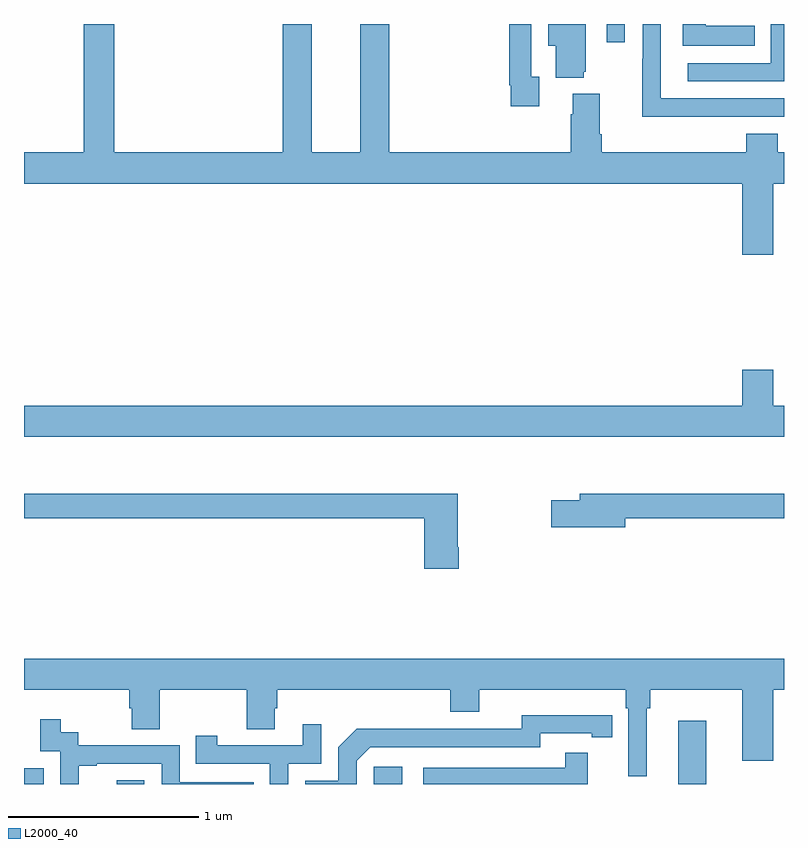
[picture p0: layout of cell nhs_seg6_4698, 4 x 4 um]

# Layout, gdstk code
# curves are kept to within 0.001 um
import gdstk
lib = gdstk.Library(unit=1e-6, precision=1e-09)
def R(c, l, rs):  # rectangles x0, y0, x1, y1
    for r in rs: c.add(gdstk.rectangle(r[:2], r[2:], *l))
def P(c, l, *ps):  # polygons
    for p in ps: c.add(gdstk.Polygon(p, *l))
L2000_40 = (2000, 40)

nhs_seg6_4698 = lib.new_cell('nhs_seg6_4698')
R(nhs_seg6_4698, L2000_40, [(389,953.5,389.105,953.583), (389.487,953.5,389.634,953.521), (390.84,953.5,390.991,953.59), (392.444,953.5,392.59,953.833), (392.067,957.405,392.163,957.5)])
P(nhs_seg6_4698, L2000_40, [(392.944,956.66),(393,956.66),(393,956.824),(392.966,956.824),(392.966,956.923),(392.801,956.923),(392.801,956.824),(392.042,956.824),(392.042,956.92),(392.029,956.92),(392.029,957.133),(391.889,957.133),(391.889,957.026),(391.877,957.026),(391.877,956.824),(390.923,956.824),(390.923,957.5),(390.77,957.5),(390.77,956.824),(390.514,956.824),(390.514,957.5),(390.362,957.5),(390.362,956.824),(389.474,956.824),(389.474,957.5),(389.314,957.5),(389.314,956.824),(389,956.824),(389,956.66),(392.78,956.66),(392.78,956.286),(392.944,956.286)],
  [(391.711,957.222),(391.671,957.222),(391.671,957.5),(391.555,957.5),(391.555,957.178),(391.563,957.178),(391.563,957.066),(391.711,957.066)],
  [(392.846,957.49),(392.589,957.49),(392.589,957.5),(392.468,957.5),(392.468,957.386),(392.846,957.386)],
  [(393,957.5),(392.931,957.5),(392.931,957.294),(392.493,957.294),(392.493,957.198),(393,957.198)],
  [(392.717,957.012),(393,957.012),(393,957.108),(392.352,957.108),(392.352,957.5),(392.256,957.5),(392.256,957.317),(392.254,957.317),(392.254,957.011),(392.717,957.011)],
  [(391.946,957.249),(391.957,957.249),(391.957,957.5),(391.76,957.5),(391.76,957.386),(391.799,957.386),(391.799,957.218),(391.946,957.218)],
  [(393,955.492),(392.944,955.492),(392.944,955.681),(392.78,955.681),(392.78,955.492),(389,955.492),(389,955.328),(393,955.328)],
  [(391.289,954.745),(391.284,954.745),(391.284,955.027),(389,955.027),(389,954.898),(391.106,954.898),(391.106,954.633),(391.289,954.633)],
  [(392.164,954.898),(393,954.898),(393,955.027),(391.925,955.027),(391.925,954.993),(391.776,954.993),(391.776,954.851),(392.164,954.851)],
  [(392.278,953.9),(392.297,953.9),(392.297,953.996),(392.78,953.996),(392.78,953.622),(392.944,953.622),(392.944,953.996),(393,953.996),(393,954.16),(389,954.16),(389,953.996),(389.555,953.996),(389.555,953.898),(389.567,953.898),(389.567,953.788),(389.715,953.788),(389.715,953.996),(390.172,953.996),(390.172,953.788),(390.319,953.788),(390.319,953.898),(390.332,953.898),(390.332,953.996),(391.244,953.996),(391.244,953.879),(391.396,953.879),(391.396,953.996),(392.168,953.996),(392.168,953.9),(392.181,953.9),(392.181,953.541),(392.278,953.541)],
  [(390.75,953.622),(390.822,953.694),(391.716,953.694),(391.716,953.766),(391.988,953.766),(391.988,953.746),(392.096,953.746),(392.096,953.862),(391.62,953.863),(391.62,953.79),(391.16,953.79),(391.16,953.792),(390.752,953.792),(390.654,953.694),(390.654,953.517),(390.48,953.517),(390.48,953.5),(390.75,953.5)],
  [(389.288,953.595),(389.383,953.595),(389.383,953.607),(389.724,953.607),(389.724,953.5),(390.209,953.5),(390.209,953.508),(389.82,953.508),(389.82,953.703),(389.286,953.703),(389.286,953.772),(389.194,953.772),(389.194,953.842),(389.085,953.842),(389.085,953.673),(389.19,953.673),(389.19,953.5),(389.288,953.5)],
  [(390.39,953.607),(390.564,953.607),(390.564,953.815),(390.467,953.815),(390.467,953.703),(390.016,953.703),(390.016,953.755),(389.905,953.755),(389.905,953.607),(390.294,953.607),(390.294,953.5),(390.39,953.5)],
  [(391.967,953.665),(391.849,953.665),(391.849,953.586),(391.101,953.586),(391.101,953.5),(391.967,953.5)])

lib.write_gds('nhs_seg6_4698.gds')
